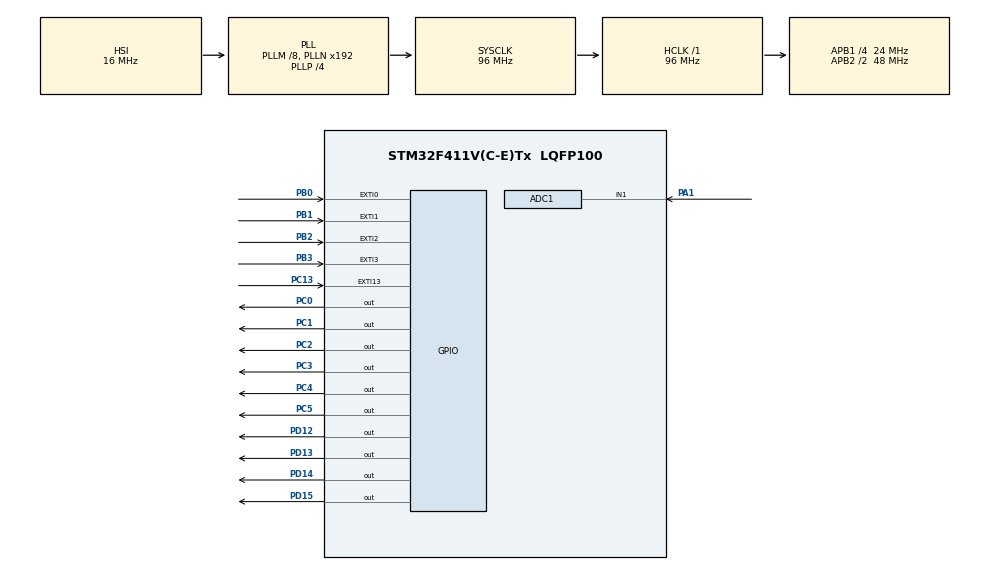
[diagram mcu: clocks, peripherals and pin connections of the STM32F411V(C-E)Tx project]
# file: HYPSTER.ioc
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ADC1.Channel-0\#ChannelRegularConversion=ADC_CHANNEL_1
ADC1.ContinuousConvMode=ENABLE
ADC1.NbrOfConversionFlag=1
ADC1.Rank-0\#ChannelRegularConversion=1
ADC1.SamplingTime-0\#ChannelRegularConversion=ADC_SAMPLETIME_3CYCLES
ADC1.master=1
Mcu.Family=STM32F4
Mcu.Name=STM32F411V(C-E)Tx
Mcu.Package=LQFP100
NVIC.EXTI0_IRQn=true\:0\:0\:false\:false\:true\:true\:true\:true
NVIC.EXTI15_10_IRQn=true\:0\:0\:false\:false\:true\:true\:true\:true
NVIC.EXTI1_IRQn=true\:0\:0\:false\:false\:true\:true\:true\:true
NVIC.EXTI2_IRQn=true\:0\:0\:false\:false\:true\:true\:true\:true
NVIC.EXTI3_IRQn=true\:0\:0\:false\:false\:true\:true\:true\:true
NVIC.PriorityGroup=NVIC_PRIORITYGROUP_0
NVIC.TIM1_UP_TIM10_IRQn=true\:0\:0\:false\:false\:true\:false\:true\:true
NVIC.TIM2_IRQn=true\:0\:0\:false\:false\:true\:true\:true\:true
NVIC.TimeBase=TIM1_UP_TIM10_IRQn
NVIC.TimeBaseIP=TIM1
PA1.Signal=ADCx_IN1
PB0.GPIO_PuPd=GPIO_PULLUP
PB0.Signal=GPXTI0
PB1.GPIO_PuPd=GPIO_PULLUP
PB1.Signal=GPXTI1
PB2.GPIO_PuPd=GPIO_PULLUP
PB2.Signal=GPXTI2
PB3.GPIO_PuPd=GPIO_PULLUP
PB3.Signal=GPXTI3
PC0.Signal=GPIO_Output
PC1.Signal=GPIO_Output
PC13-ANTI_TAMP.GPIO_PuPd=GPIO_PULLUP
PC13-ANTI_TAMP.Signal=GPXTI13
PC2.Signal=GPIO_Output
PC3.Signal=GPIO_Output
PC4.Signal=GPIO_Output
PC5.Signal=GPIO_Output
PD12.Signal=GPIO_Output
PD13.Signal=GPIO_Output
PD14.Signal=GPIO_Output
PD15.Signal=GPIO_Output
ProjectManager.HeapSize=0x200
ProjectManager.StackSize=0x400
ProjectManager.TargetToolchain=STM32CubeIDE
RCC.48MHZClocksFreq_Value=48000000
RCC.AHBFreq_Value=96000000
RCC.APB1CLKDivider=RCC_HCLK_DIV4
RCC.APB1Freq_Value=24000000
RCC.APB1TimFreq_Value=48000000
RCC.APB2CLKDivider=RCC_HCLK_DIV2
RCC.APB2Freq_Value=48000000
RCC.APB2TimFreq_Value=96000000
RCC.CortexFreq_Value=96000000
RCC.HCLKFreq_Value=96000000
RCC.HSE_VALUE=8000000
RCC.HSI_VALUE=16000000
RCC.LSE_VALUE=32768
RCC.PLLI2SM=5
RCC.PLLI2SN=200
RCC.PLLM=8
RCC.PLLP=RCC_PLLP_DIV4
RCC.PLLQ=8
RCC.SYSCLKFreq_VALUE=96000000
RCC.SYSCLKSource=RCC_SYSCLKSOURCE_PLLCLK
RCC.VCOOutputFreq_Value=384000000
SH.ADCx_IN1.0=ADC1_IN1,IN1
TIM2.Period=9
TIM2.Prescaler=8399
VP_SYS_VS_tim1.Mode=TIM1
VP_TIM2_VS_ClockSourceINT.Mode=Internal
board=STM32F411E-DISCO

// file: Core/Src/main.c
/* USER CODE BEGIN Header */
/**
  ******************************************************************************
  * @file           : main.c
  * @brief          : Main program body
  ******************************************************************************
  * @attention
  *
  * <h2><center>&copy; Copyright (c) 2026 STMicroelectronics.
  * All rights reserved.</center></h2>
  *
  * This software component is licensed by ST under BSD 3-Clause license,
  * the "License"; You may not use this file except in compliance with the
  * License. You may obtain a copy of the License at:
  *                        opensource.org/licenses/BSD-3-Clause
  *
  ******************************************************************************
  */
/* USER CODE END Header */
#include "main.h"

/* USER CODE BEGIN Includes */
#include <stdlib.h>
#include "leds.h"
#include "botones.h"
#include "potenciometro.h"
#include "timer.h"
#include "lcd.h"
#include "fsm.h"
/* USER CODE END Includes */

ADC_HandleTypeDef hadc1;

TIM_HandleTypeDef htim2;

/* USER CODE BEGIN PV */
volatile uint32_t contador = 0;
volatile uint32_t espera = 0;
volatile uint8_t ISR = 0;
volatile uint16_t adc_val;
extern volatile uint32_t tiempo_reaccion;
volatile uint32_t tiempo_max = 3000;
uint8_t activaciones[4] = {0}; //asegurar que todos los jugadores reciben 5 encendidos en total
uint32_t puntuacion[4] = {0};
uint8_t ganador = 0;
/* USER CODE END PV */

void SystemClock_Config(void);
static void MX_GPIO_Init(void);
static void MX_ADC1_Init(void);
static void MX_TIM2_Init(void);

int main(void)
{

  /* MCU Configuration--------------------------------------------------------*/

  /* Reset of all peripherals, Initializes the Flash interface and the Systick. */
  HAL_Init();

  /* USER CODE BEGIN Init */
  LEDS_Init();
  BOTONES_Init();
  FSM_Init();
  POT_Init(&hadc1);
  /* USER CODE END Init */

  /* Configure the system clock */
  SystemClock_Config();

  /* Initialize all configured peripherals */
  MX_GPIO_Init();
  MX_ADC1_Init();
  MX_TIM2_Init();
  /* USER CODE BEGIN 2 */

  HAL_ADC_Start(&hadc1);
  HAL_ADC_PollForConversion(&hadc1, HAL_MAX_DELAY);
  uint16_t aleatorio = HAL_ADC_GetValue(&hadc1);
  srand(aleatorio);

  LCD_Init();
  LCD_Clear();

  /* USER CODE END 2 */

  /* Infinite loop */
  while (1)
  {

    /* USER CODE BEGIN 3 */
  FSM_Update();
  }
  /* USER CODE END 3 */
}

void SystemClock_Config(void)
{
  RCC_OscInitTypeDef RCC_OscInitStruct = {0};
  RCC_ClkInitTypeDef RCC_ClkInitStruct = {0};

  /** Configure the main internal regulator output voltage
  */
  __HAL_RCC_PWR_CLK_ENABLE();
  __HAL_PWR_VOLTAGESCALING_CONFIG(PWR_REGULATOR_VOLTAGE_SCALE1);

  /** Initializes the RCC Oscillators according to the specified parameters
  * in the RCC_OscInitTypeDef structure.
  */
  RCC_OscInitStruct.OscillatorType = RCC_OSCILLATORTYPE_HSI;
  RCC_OscInitStruct.HSIState = RCC_HSI_ON;
  RCC_OscInitStruct.HSICalibrationValue = RCC_HSICALIBRATION_DEFAULT;
  RCC_OscInitStruct.PLL.PLLState = RCC_PLL_ON;
  RCC_OscInitStruct.PLL.PLLSource = RCC_PLLSOURCE_HSI;
  RCC_OscInitStruct.PLL.PLLM = 8;
  RCC_OscInitStruct.PLL.PLLN = 192;
  RCC_OscInitStruct.PLL.PLLP = RCC_PLLP_DIV4;
  RCC_OscInitStruct.PLL.PLLQ = 8;
  if (HAL_RCC_OscConfig(&RCC_OscInitStruct) != HAL_OK)
  {
    Error_Handler();
  }

  /** Initializes the CPU, AHB and APB buses clocks
  */
  RCC_ClkInitStruct.ClockType = RCC_CLOCKTYPE_HCLK|RCC_CLOCKTYPE_SYSCLK
                              |RCC_CLOCKTYPE_PCLK1|RCC_CLOCKTYPE_PCLK2;
  RCC_ClkInitStruct.SYSCLKSource = RCC_SYSCLKSOURCE_PLLCLK;
  RCC_ClkInitStruct.AHBCLKDivider = RCC_SYSCLK_DIV1;
  RCC_ClkInitStruct.APB1CLKDivider = RCC_HCLK_DIV4;
  RCC_ClkInitStruct.APB2CLKDivider = RCC_HCLK_DIV2;

  if (HAL_RCC_ClockConfig(&RCC_ClkInitStruct, FLASH_LATENCY_3) != HAL_OK)
  {
    Error_Handler();
  }
}

static void MX_ADC1_Init(void)
{

  ADC_ChannelConfTypeDef sConfig = {0};

  /** Configure the global features of the ADC (Clock, Resolution, Data Alignment and number of conversion)
  */
  hadc1.Instance = ADC1;
  hadc1.Init.ClockPrescaler = ADC_CLOCK_SYNC_PCLK_DIV2;
  hadc1.Init.Resolution = ADC_RESOLUTION_12B;
  hadc1.Init.ScanConvMode = DISABLE;
  hadc1.Init.ContinuousConvMode = ENABLE;
  hadc1.Init.DiscontinuousConvMode = DISABLE;
  hadc1.Init.ExternalTrigConvEdge = ADC_EXTERNALTRIGCONVEDGE_NONE;
  hadc1.Init.ExternalTrigConv = ADC_SOFTWARE_START;
  hadc1.Init.DataAlign = ADC_DATAALIGN_RIGHT;
  hadc1.Init.NbrOfConversion = 1;
  hadc1.Init.DMAContinuousRequests = DISABLE;
  hadc1.Init.EOCSelection = ADC_EOC_SINGLE_CONV;
  if (HAL_ADC_Init(&hadc1) != HAL_OK)
  {
    Error_Handler();
  }

  /** Configure for the selected ADC regular channel its corresponding rank in the sequencer and its sample time.
  */
  sConfig.Channel = ADC_CHANNEL_1;
  sConfig.Rank = 1;
  sConfig.SamplingTime = ADC_SAMPLETIME_3CYCLES;
  if (HAL_ADC_ConfigChannel(&hadc1, &sConfig) != HAL_OK)
  {
    Error_Handler();
  }

}

static void MX_TIM2_Init(void)
{

  TIM_ClockConfigTypeDef sClockSourceConfig = {0};
  TIM_MasterConfigTypeDef sMasterConfig = {0};

  htim2.Instance = TIM2;
  htim2.Init.Prescaler = 8399;
  htim2.Init.CounterMode = TIM_COUNTERMODE_UP;
  htim2.Init.Period = 9;
  htim2.Init.ClockDivision = TIM_CLOCKDIVISION_DIV1;
  htim2.Init.AutoReloadPreload = TIM_AUTORELOAD_PRELOAD_DISABLE;
  if (HAL_TIM_Base_Init(&htim2) != HAL_OK)
  {
    Error_Handler();
  }
  sClockSourceConfig.ClockSource = TIM_CLOCKSOURCE_INTERNAL;
  if (HAL_TIM_ConfigClockSource(&htim2, &sClockSourceConfig) != HAL_OK)
  {
    Error_Handler();
  }
  sMasterConfig.MasterOutputTrigger = TIM_TRGO_RESET;
  sMasterConfig.MasterSlaveMode = TIM_MASTERSLAVEMODE_DISABLE;
  if (HAL_TIMEx_MasterConfigSynchronization(&htim2, &sMasterConfig) != HAL_OK)
  {
    Error_Handler();
  }

}

static void MX_GPIO_Init(void)
{
  GPIO_InitTypeDef GPIO_InitStruct = {0};

  /* GPIO Ports Clock Enable */
  __HAL_RCC_GPIOC_CLK_ENABLE();
  __HAL_RCC_GPIOA_CLK_ENABLE();
  __HAL_RCC_GPIOB_CLK_ENABLE();
  __HAL_RCC_GPIOD_CLK_ENABLE();

  /*Configure GPIO pin Output Level */
  HAL_GPIO_WritePin(GPIOC, GPIO_PIN_0|GPIO_PIN_1|GPIO_PIN_2|GPIO_PIN_3
                          |GPIO_PIN_4|GPIO_PIN_5, GPIO_PIN_RESET);

  /*Configure GPIO pin Output Level */
  HAL_GPIO_WritePin(GPIOD, GPIO_PIN_12|GPIO_PIN_13|GPIO_PIN_14|GPIO_PIN_15, GPIO_PIN_RESET);

  /*Configure GPIO pin : PC13 */
  GPIO_InitStruct.Pin = GPIO_PIN_13;
  GPIO_InitStruct.Mode = GPIO_MODE_IT_RISING;
  GPIO_InitStruct.Pull = GPIO_PULLUP;
  HAL_GPIO_Init(GPIOC, &GPIO_InitStruct);

  /*Configure GPIO pins : PC0 PC1 PC2 PC3
                           PC4 PC5 */
  GPIO_InitStruct.Pin = GPIO_PIN_0|GPIO_PIN_1|GPIO_PIN_2|GPIO_PIN_3
                          |GPIO_PIN_4|GPIO_PIN_5;
  GPIO_InitStruct.Mode = GPIO_MODE_OUTPUT_PP;
  GPIO_InitStruct.Pull = GPIO_NOPULL;
  GPIO_InitStruct.Speed = GPIO_SPEED_FREQ_LOW;
  HAL_GPIO_Init(GPIOC, &GPIO_InitStruct);

  /*Configure GPIO pins : PB0 PB1 PB2 PB3 */
  GPIO_InitStruct.Pin = GPIO_PIN_0|GPIO_PIN_1|GPIO_PIN_2|GPIO_PIN_3;
  GPIO_InitStruct.Mode = GPIO_MODE_IT_RISING;
  GPIO_InitStruct.Pull = GPIO_PULLUP;
  HAL_GPIO_Init(GPIOB, &GPIO_InitStruct);

  /*Configure GPIO pins : PD12 PD13 PD14 PD15 */
  GPIO_InitStruct.Pin = GPIO_PIN_12|GPIO_PIN_13|GPIO_PIN_14|GPIO_PIN_15;
  GPIO_InitStruct.Mode = GPIO_MODE_OUTPUT_PP;
  GPIO_InitStruct.Pull = GPIO_NOPULL;
  GPIO_InitStruct.Speed = GPIO_SPEED_FREQ_LOW;
  HAL_GPIO_Init(GPIOD, &GPIO_InitStruct);

  /* EXTI interrupt init*/
  HAL_NVIC_SetPriority(EXTI0_IRQn, 0, 0);
  HAL_NVIC_EnableIRQ(EXTI0_IRQn);

  HAL_NVIC_SetPriority(EXTI1_IRQn, 0, 0);
  HAL_NVIC_EnableIRQ(EXTI1_IRQn);

  HAL_NVIC_SetPriority(EXTI2_IRQn, 0, 0);
  HAL_NVIC_EnableIRQ(EXTI2_IRQn);

  HAL_NVIC_SetPriority(EXTI3_IRQn, 0, 0);
  HAL_NVIC_EnableIRQ(EXTI3_IRQn);

  HAL_NVIC_SetPriority(EXTI15_10_IRQn, 0, 0);
  HAL_NVIC_EnableIRQ(EXTI15_10_IRQn);

}

void HAL_TIM_PeriodElapsedCallback(TIM_HandleTypeDef *htim)
{
  if (htim->Instance == TIM1) {
    HAL_IncTick();
  }
  /* USER CODE BEGIN Callback 1 */
  if (htim->Instance == TIM2)
  {
      tiempo_reaccion++;
  }
  /* USER CODE END Callback 1 */
}

void Error_Handler(void)
{
  __disable_irq();
  while (1)
  {
  }
}
